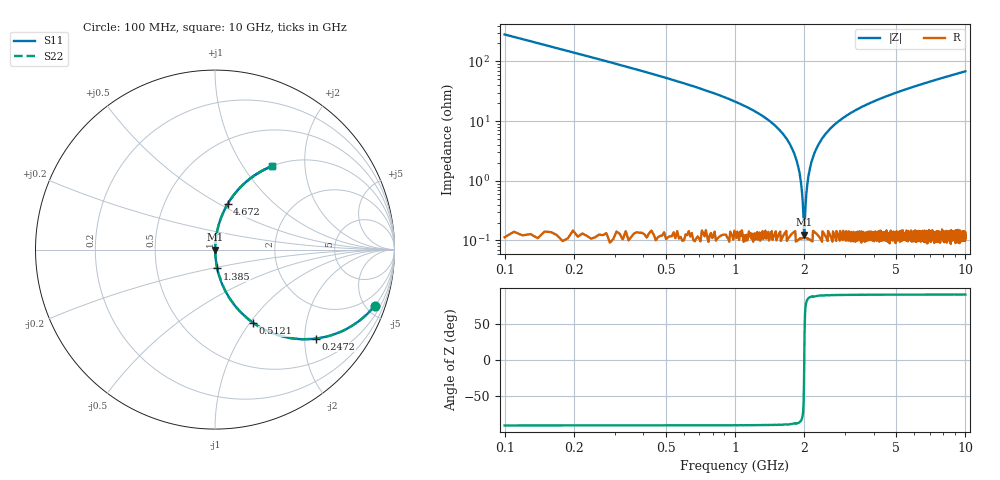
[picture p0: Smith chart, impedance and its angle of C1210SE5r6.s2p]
! AVX Thin Film Operation		Date: April 2012
! Description: Accu-P® Series, Thin Film, SMD, RF Capacitor
! Part Number: 12101J0R1PBTTR
!	100	MHz	-	20.05	GHz
!	Serial	Measurements
#	MHZ	S	MA	R	50
!	S11	S21	S12	S22
!	dB	Phase	dB	Phase	dB	Phase	dB	Phase
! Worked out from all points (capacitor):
!   1010 points, 100 MHz to 10 GHz, reference 50 ohm
!   read as one part in series: C = 5.6 pF near 149.1 MHz
!   lowest |Z| = 126 mohm at 1.994 GHz (marker M1)
!   series resonance near 1.998 GHz, so ESL is about 1.1 nH
!   S11 on the Smith chart (normalised r, x): 100 MHz: 1.00, -5.67; 247.2 MHz: 1.00, -2.26; 512.1 MHz: 1.00, -1.04; 1.385 GHz: 1.00, -0.21; 4.672 GHz: 1.00, +0.54; 10 GHz: 1.00, +1.37
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100  0.943 -19.4  0.333 70.5  0.333 70.5  0.943 -19.4
247.175  0.749 -41.4  0.662 48.5  0.662 48.5  0.749 -41.4
512.091  0.46 -62.5  0.887 27.4  0.887 27.4  0.46 -62.5
835.877  0.27 -74.1  0.962 15.7  0.962 15.7  0.27 -74.1
1385.332  0.106 -83.3  0.993 6.1  0.993 6.1  0.106 -83.3
1758.176  0.036 -86.0  0.998 2.1  0.998 2.1  0.036 -86.0
1885.728  0.016 -84.9  0.999 0.9  0.999 0.9  0.016 -84.9
1924.975  0.011 -82.9  0.999 0.6  0.999 0.6  0.011 -82.9
1964.222  0.00498 -75.8  0.999 0.3  0.999 0.3  0.00498 -75.8
1993.657  0.00134 -26.7  0.999 0.0  0.999 0.0  0.00134 -26.7
2032.904  0.00508 76.1  0.999 -0.3  0.999 -0.3  0.00508 76.1
2081.962  0.012 83.5  0.999 -0.7  0.999 -0.7  0.012 83.5
2131.021  0.018 85.2  0.999 -1.1  0.999 -1.1  0.018 85.2
2219.326  0.03 86.0  0.998 -1.7  0.998 -1.7  0.03 86.0
2337.066  0.045 85.9  0.998 -2.6  0.998 -2.6  0.045 85.9
2749.158  0.092 84.0  0.995 -5.3  0.995 -5.3  0.092 84.0
3406.541  0.157 80.5  0.986 -9.0  0.986 -9.0  0.157 80.5
4672.25  0.262 74.6  0.964 -15.2  0.964 -15.2  0.262 74.6
5054.906  0.29 72.9  0.956 -16.9  0.956 -16.9  0.29 72.9
6703.271  0.398 66.4  0.916 -23.5  0.916 -23.5  0.398 66.4
8351.635  0.489 60.6  0.871 -29.2  0.871 -29.2  0.489 60.6
10000  0.564 55.6  0.825 -34.3  0.825 -34.3  0.564 55.6
